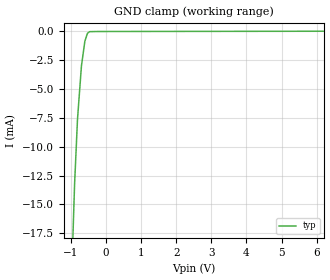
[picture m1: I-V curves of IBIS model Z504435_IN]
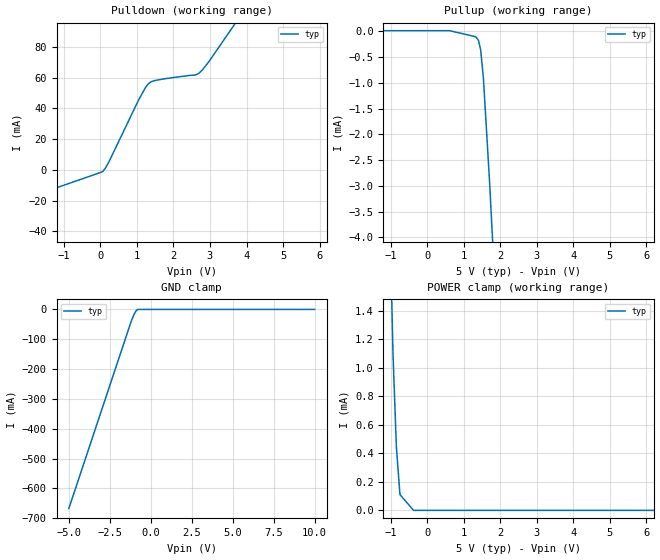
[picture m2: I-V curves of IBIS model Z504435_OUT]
| YOU ARE ONLY AUTHORIZED TO USE THIS SOFTWARE
| ACCORDING TO LICENSOR'S LICENSE RESTRICTIONS.
[IBIS Ver] 3.1
[File Name] sn54ls290j.ibs
[File Rev] 2.0
[Source] Measured and created by ICX Technology
[Date] Friday 7/14/00 9:08:14 AM
[Copyright]
| (C) COPYRIGHT 1993-2000
| MENTOR GRAPHICS CORPORATION
| ICX STANDARD LIBRARY, ICX PROJECT MODELING,
| ICX CUSTOM MODELING, ICX VENDOR MODEL
| ALL RIGHTS RESERVED.
| THE FOLLOWING ARE TRADEMARKS OR SERVICE MARKS OF
| MENTOR GRAPHICS CORPORATION:ICX (R), ICX STANDARD
| LIBRARY(R), ICX PROJECT MODELING(R), ICX CUSTOM
| MODELING(R), qualityIBIS(TM), MODELVIEWER(TM),
| AND MODELEDITOR(TM)
| ALL COPIES OF SOFTWARE, INCLUDING BUT NOT LIMITED TO
| ANY MODIFICATIONS, ENHANCEMENTS OR DERIVATIVE WORKS,
| MUST CONTAIN ALL MENTOR GRAPHICS CORPORATION'S
| NOTICES AND LEGENDS, INCLUDING THOSE EMBEDDED IN
| SOFTWARE AND THOSE AFFIXED TO SOFTWARE MEDIUM
| AND CONTAINER, AS RECEIVED FROM MENTOR GRAPHICS
| CORPORATION.
|  ZAP Model Builder 2.7
[Component] SN54LS290J
[Manufacturer] OnSemiconductor
[Package]
| variable   typ   min   max
R_pkg  .21ohms NA NA
L_pkg  4.543nH NA NA
C_pkg  1.8pF NA NA
[Pin] signal_name  model_name  R_pin  L_pin C_pin
1 R9_1 Z504435_IN .22 6.757n 2.434p
2 NC NC .212 4.757n 1.941p
3 R9_2 Z504435_IN .204 3.257n 1.448p
4 QC Z504435_OUT .196 2.257n .955p
5 QB Z504435_OUT .204 3.257n 1.448p
6 NC NC .212 4.757n 1.941p
7 GND GND .22 6.757n 2.434p
8 QD Z504435_OUT .22 6.757n 2.434p
9 QA Z504435_OUT .212 4.757n 1.941p
10 CKA Z504435_IN .204 3.257n 1.448p
11 CKB Z504435_IN .196 2.257n .955p
12 R0_1 Z504435_IN .204 3.257n 1.448p
13 R0_2 Z504435_IN .212 4.757n 1.941p
14 VCC POWER .22 6.757n 2.434p
| Models and submodels in the file (2): Z504435_IN (Input), Z504435_OUT (Output)
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| (C) COPYRIGHT 1993-2000
| MENTOR GRAPHICS CORPORATION
| ICX STANDARD LIBRARY, ICX PROJECT MODELING,
| ICX CUSTOM MODELING, ICX VENDOR MODEL
| ALL RIGHTS RESERVED.
| THE FOLLOWING ARE TRADEMARKS OR SERVICE MARKS OF
| MENTOR GRAPHICS CORPORATION:ICX (R), ICX STANDARD
| LIBRARY(R), ICX PROJECT MODELING(R), ICX CUSTOM
| MODELING(R), qualityIBIS(TM), MODELVIEWER(TM),
| AND MODELEDITOR(TM)
| ALL COPIES OF SOFTWARE, INCLUDING BUT NOT LIMITED TO
| ANY MODIFICATIONS, ENHANCEMENTS OR DERIVATIVE WORKS,
| MUST CONTAIN ALL MENTOR GRAPHICS CORPORATION'S
| NOTICES AND LEGENDS, INCLUDING THOSE EMBEDDED IN
| SOFTWARE AND THOSE AFFIXED TO SOFTWARE MEDIUM
| AND CONTAINER, AS RECEIVED FROM MENTOR GRAPHICS
| CORPORATION.
| Model Application Version 1.89 2/18/99.
[Model] Z504435_IN
Model_type Input
Vinl = 800.0mV
Vinh = 2.000V
C_comp 4.000pF NA NA
| variable typ   min   max
[Voltage Range] 5.000V NA NA
[GND Clamp Reference] 0.000V NA NA
[POWER Clamp Reference] 5.000V NA NA
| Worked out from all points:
|   GND clamp passes 1 mA (typ) near -0.61 V on its own axis
[GND Clamp]
-5V       -405.8mA   NA         NA
-893.6mV  -13.25mA   NA         NA
-810.4mV  -7.603mA   NA         NA
-698.4mV  -2.998mA   NA         NA
-600.6mV  -847uA     NA         NA
-528.1mV  -173.4uA   NA         NA
-467.5mV  -24.1uA    NA         NA
-233.8mV  -10.75uA   NA         NA
10V       26.06uA    NA         NA
[POWER Clamp]
-5V       0A         NA         NA
10V       0A         NA         NA
| (C) COPYRIGHT 1993-2000
| MENTOR GRAPHICS CORPORATION
| ICX STANDARD LIBRARY, ICX PROJECT MODELING,
| ICX CUSTOM MODELING, ICX VENDOR MODEL
| ALL RIGHTS RESERVED.
| THE FOLLOWING ARE TRADEMARKS OR SERVICE MARKS OF
| MENTOR GRAPHICS CORPORATION:ICX (R), ICX STANDARD
| LIBRARY(R), ICX PROJECT MODELING(R), ICX CUSTOM
| MODELING(R), qualityIBIS(TM), MODELVIEWER(TM),
| AND MODELEDITOR(TM)
| ALL COPIES OF SOFTWARE, INCLUDING BUT NOT LIMITED TO
| ANY MODIFICATIONS, ENHANCEMENTS OR DERIVATIVE WORKS,
| MUST CONTAIN ALL MENTOR GRAPHICS CORPORATION'S
| NOTICES AND LEGENDS, INCLUDING THOSE EMBEDDED IN
| SOFTWARE AND THOSE AFFIXED TO SOFTWARE MEDIUM
| AND CONTAINER, AS RECEIVED FROM MENTOR GRAPHICS
| CORPORATION.
| Model Application Version 1.89 2/18/99.
[Model] Z504435_OUT
Model_type Output
Vref=5.000V
Rref=2.000kohms
Cref=15.00pF
Vmeas=1.300V
C_comp 8.000pF NA NA
| variable typ   min   max
[Voltage Range] 5.000V NA NA
[POWER Clamp Reference] 5.000V NA NA
[Pullup Reference] 5.000V NA NA
[Pulldown Reference] 0.000V NA NA
[GND Clamp Reference] 0.000V NA NA
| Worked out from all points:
|   slope of the pulldown table from 0 to 0.75 V, typ, clamps not added: 23 ohm
|   slope of the pullup table from 0 to 0.75 V, typ, clamps not added: 31.8 kohm
|   GND clamp passes 1 mA (typ) near -0.80 V on its own axis
|   POWER clamp passes 1 mA (typ) near -0.92 V on its own axis
[GND Clamp]
-5V       -667.7mA   NA         NA
-1.191V   -39.67mA   NA         NA
-1.001V   -14.61mA   NA         NA
-873.9mV  -3.212mA   NA         NA
-764.7mV  0A         NA         NA
10V       0A         NA         NA
[Pulldown]
-5V       -43.09mA   NA         NA
29.64mV   -1.533mA   NA         NA
131.5mV   845.1uA    NA         NA
224.5mV   4.714mA    NA         NA
1.036V    44.98mA    NA         NA
1.226V    53.29mA    NA         NA
1.383V    57.34mA    NA         NA
1.743V    59.27mA    NA         NA
2.655V    62.35mA    NA         NA
2.793V    65.07mA    NA         NA
2.985V    70.97mA    NA         NA
10V       313.8mA    NA         NA
[Pullup]
-5V       15.7uA     NA         NA
605mV     15.7uA     NA         NA
1.323V    -101uA     NA         NA
1.401V    -168.3uA   NA         NA
1.46V     -348uA     NA         NA
1.537V    -901.9uA   NA         NA
1.714V    -3.021mA   NA         NA
10V       -119.7mA   NA         NA
[POWER Clamp]
-5V       45.71mA    NA         NA
-937mV    1.093mA    NA         NA
-845mV    445.9uA    NA         NA
-747mV    110.5uA    NA         NA
-373.5mV  0A         NA         NA
10V       0A         NA         NA
[Ramp]
| variable typ min max
dV/dt_r 1.782/10.23n NA NA
dV/dt_f 1.782/1.730n NA NA
R_load = 500.0Ohms
